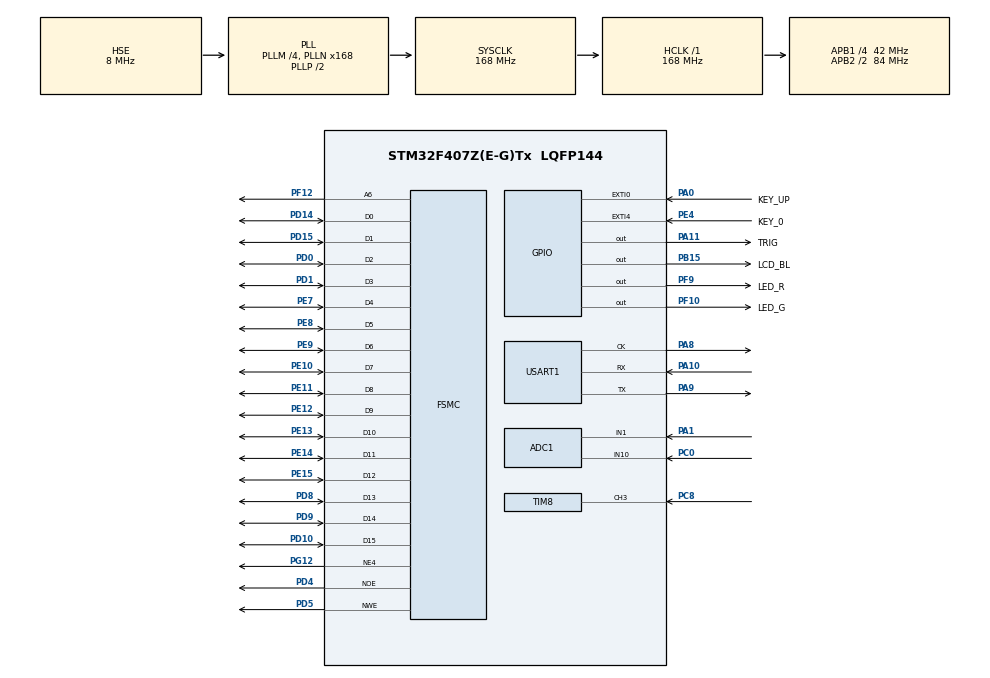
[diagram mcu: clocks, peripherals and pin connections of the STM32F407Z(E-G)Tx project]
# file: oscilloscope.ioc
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ADC1.Channel-4\#ChannelRegularConversion=ADC_CHANNEL_1
ADC1.Channel-5\#ChannelRegularConversion=ADC_CHANNEL_10
ADC1.ClockPrescaler=ADC_CLOCK_SYNC_PCLK_DIV4
ADC1.ContinuousConvMode=DISABLE
ADC1.DMAContinuousRequests=ENABLE
ADC1.DiscontinuousConvMode=DISABLE
ADC1.EOCSelection=ADC_EOC_SINGLE_CONV
ADC1.ExternalTrigConv=ADC_EXTERNALTRIGCONV_T2_TRGO
ADC1.InjNumberOfConversion=0
ADC1.NbrOfConversion=2
ADC1.NbrOfConversionFlag=1
ADC1.Rank-4\#ChannelRegularConversion=1
ADC1.Rank-5\#ChannelRegularConversion=2
ADC1.SamplingTime-4\#ChannelRegularConversion=ADC_SAMPLETIME_3CYCLES
ADC1.SamplingTime-5\#ChannelRegularConversion=ADC_SAMPLETIME_3CYCLES
ADC1.master=1
Dma.ADC1.0.Direction=DMA_PERIPH_TO_MEMORY
Dma.ADC1.0.FIFOMode=DMA_FIFOMODE_DISABLE
Dma.ADC1.0.Instance=DMA2_Stream4
Dma.ADC1.0.MemDataAlignment=DMA_MDATAALIGN_HALFWORD
Dma.ADC1.0.MemInc=DMA_MINC_ENABLE
Dma.ADC1.0.Mode=DMA_CIRCULAR
Dma.ADC1.0.PeriphDataAlignment=DMA_PDATAALIGN_HALFWORD
Dma.ADC1.0.PeriphInc=DMA_PINC_DISABLE
Dma.ADC1.0.Priority=DMA_PRIORITY_HIGH
Dma.Request0=ADC1
FREERTOS.Queues01=Waveform_Feature_Queue,3,22,1,Dynamic,NULL,NULL;ADC_Raw_Data_Queue,5,4,1,Dynamic,NULL,NULL
FREERTOS.Tasks01=LEDTask,24,128,LEDtestTask,Default,NULL,Dynamic,NULL,NULL;LVGL_Task,40,1024,lvgl_task,As weak,NULL,Dynamic,NULL,NULL;ADCTask,48,1024,ADC_acquisition_task,As weak,NULL,Dynamic,NULL,NULL;Waveform_Task,40,1024,waveform_process_task,As weak,NULL,Dynamic,NULL,NULL
FSMC.BusTurnAroundDuration4=0
FSMC.DataSetupTime4=60
FSMC.ExtendedAddressSetupTime4=9
FSMC.ExtendedBusTurnAroundDuration4=0
FSMC.ExtendedDataSetupTime4=9
FSMC.ExtendedMode4=FSMC_EXTENDED_MODE_ENABLE
Mcu.Family=STM32F4
Mcu.Name=STM32F407Z(E-G)Tx
Mcu.Package=LQFP144
NVIC.ADC_IRQn=true\:5\:0\:false\:false\:true\:true\:true\:true\:true
NVIC.DMA2_Stream4_IRQn=true\:5\:0\:false\:false\:true\:false\:false\:true\:true
NVIC.EXTI0_IRQn=true\:5\:0\:false\:false\:true\:true\:true\:true\:true
NVIC.EXTI4_IRQn=true\:5\:0\:false\:false\:true\:true\:true\:true\:true
NVIC.PriorityGroup=NVIC_PRIORITYGROUP_4
NVIC.TIM8_CC_IRQn=true\:5\:0\:false\:false\:true\:true\:true\:true\:true
PA0-WKUP.GPIO_Label=KEY_UP
PA0-WKUP.GPIO_ModeDefaultEXTI=GPIO_MODE_IT_RISING
PA0-WKUP.GPIO_PuPd=GPIO_PULLDOWN
PA0-WKUP.Signal=GPXTI0
PA1.Signal=ADCx_IN1
PA10.Mode=Synchronous
PA10.Signal=USART1_RX
PA11.GPIO_Label=TRIG
PA11.GPIO_PuPd=GPIO_PULLDOWN
PA11.GPIO_Speed=GPIO_SPEED_FREQ_MEDIUM
PA11.PinState=GPIO_PIN_RESET
PA11.Signal=GPIO_Output
PA13.Mode=Serial_Wire
PA13.Signal=SYS_JTMS-SWDIO
PA14.Mode=Serial_Wire
PA14.Signal=SYS_JTCK-SWCLK
PA8.Mode=Synchronous
PA8.Signal=USART1_CK
PA9.Mode=Synchronous
PA9.Signal=USART1_TX
PB15.GPIO_Label=LCD_BL
PB15.GPIO_PuPd=GPIO_PULLDOWN
PB15.Signal=GPIO_Output
PC0.Signal=ADCx_IN10
PC14-OSC32_IN.Mode=LSE-External-Oscillator
PC14-OSC32_IN.Signal=RCC_OSC32_IN
PC15-OSC32_OUT.Mode=LSE-External-Oscillator
PC15-OSC32_OUT.Signal=RCC_OSC32_OUT
PC4.Signal=ADCx_IN14
PC8.Signal=S_TIM8_CH3
PD0.Signal=FSMC_D2_DA2
PD1.Signal=FSMC_D3_DA3
PD10.Signal=FSMC_D15_DA15
PD14.Signal=FSMC_D0_DA0
PD15.Signal=FSMC_D1_DA1
PD4.Signal=FSMC_NOE
PD5.Signal=FSMC_NWE
PD6.Signal=USART2_RX
PD8.Signal=FSMC_D13_DA13
PD9.Signal=FSMC_D14_DA14
PE10.Signal=FSMC_D7_DA7
PE11.Signal=FSMC_D8_DA8
PE12.Signal=FSMC_D9_DA9
PE13.Signal=FSMC_D10_DA10
PE14.Signal=FSMC_D11_DA11
PE15.Signal=FSMC_D12_DA12
PE4.GPIO_Label=KEY_0
PE4.GPIO_ModeDefaultEXTI=GPIO_MODE_IT_RISING
PE4.GPIO_PuPd=GPIO_PULLDOWN
PE4.Signal=GPXTI4
PE7.Signal=FSMC_D4_DA4
PE8.Signal=FSMC_D5_DA5
PE9.Signal=FSMC_D6_DA6
PF10.GPIO_Label=LED_G
PF10.PinState=GPIO_PIN_SET
PF10.Signal=GPIO_Output
PF12.Signal=FSMC_A6
PF9.GPIO_Label=LED_R
PF9.PinState=GPIO_PIN_SET
PF9.Signal=GPIO_Output
PG12.Mode=NorPsramChipSelect4_4
PG12.Signal=FSMC_NE4
PH0-OSC_IN.Mode=HSE-External-Oscillator
PH0-OSC_IN.Signal=RCC_OSC_IN
PH1-OSC_OUT.Mode=HSE-External-Oscillator
PH1-OSC_OUT.Signal=RCC_OSC_OUT
ProjectManager.HeapSize=0x200
ProjectManager.StackSize=0x1000
ProjectManager.TargetToolchain=MDK-ARM V5.32
RCC.48MHZClocksFreq_Value=84000000
RCC.AHBFreq_Value=168000000
RCC.APB1CLKDivider=RCC_HCLK_DIV4
RCC.APB1Freq_Value=42000000
RCC.APB1TimFreq_Value=84000000
RCC.APB2CLKDivider=RCC_HCLK_DIV2
RCC.APB2Freq_Value=84000000
RCC.APB2TimFreq_Value=168000000
RCC.CortexFreq_Value=168000000
RCC.HCLKFreq_Value=168000000
RCC.HSE_VALUE=8000000
RCC.HSI_VALUE=16000000
RCC.PLLM=4
RCC.PLLN=168
RCC.PLLSourceVirtual=RCC_PLLSOURCE_HSE
RCC.SYSCLKFreq_VALUE=168000000
RCC.SYSCLKSource=RCC_SYSCLKSOURCE_PLLCLK
RCC.VCOOutputFreq_Value=336000000
SH.ADCx_IN1.0=ADC1_IN1,IN1
SH.ADCx_IN10.0=ADC1_IN10,IN10
SH.ADCx_IN14.0=ADC1_IN14
SH.FSMC_A6.0=FSMC_A6,A6_4
SH.FSMC_D0_DA0.0=FSMC_D0,16b-d4
SH.FSMC_D10_DA10.0=FSMC_D10,16b-d4
SH.FSMC_D11_DA11.0=FSMC_D11,16b-d4
SH.FSMC_D12_DA12.0=FSMC_D12,16b-d4
SH.FSMC_D13_DA13.0=FSMC_D13,16b-d4
SH.FSMC_D14_DA14.0=FSMC_D14,16b-d4
SH.FSMC_D15_DA15.0=FSMC_D15,16b-d4
SH.FSMC_D1_DA1.0=FSMC_D1,16b-d4
SH.FSMC_D2_DA2.0=FSMC_D2,16b-d4
SH.FSMC_D3_DA3.0=FSMC_D3,16b-d4
SH.FSMC_D4_DA4.0=FSMC_D4,16b-d4
SH.FSMC_D5_DA5.0=FSMC_D5,16b-d4
SH.FSMC_D6_DA6.0=FSMC_D6,16b-d4
SH.FSMC_D7_DA7.0=FSMC_D7,16b-d4
SH.FSMC_D8_DA8.0=FSMC_D8,16b-d4
SH.FSMC_D9_DA9.0=FSMC_D9,16b-d4
SH.FSMC_NOE.0=FSMC_NOE,Lcd4
SH.FSMC_NWE.0=FSMC_NWE,Lcd4
SH.S_TIM8_CH3.0=TIM8_CH3,Input_Capture3_from_TI3
STMicroelectronics.X-CUBE-ALGOBUILD.1.4.0.LibraryCcDSPOoLibraryJjDSPOoLibrary=true
TIM2.AutoReloadPreload=TIM_AUTORELOAD_PRELOAD_ENABLE
TIM2.Period=1
TIM2.Prescaler=84
TIM2.TIM_MasterOutputTrigger=TIM_TRGO_UPDATE
TIM2.TIM_MasterSlaveMode=TIM_MASTERSLAVEMODE_DISABLE
TIM6.Period=1000-1
TIM6.Prescaler=84-1
TIM8.Channel-Input_Capture3_from_TI3=TIM_CHANNEL_3
TIM8.Channel-Input_Capture4_from_TI3_63=TIM_CHANNEL_4
TIM8.ICPolarity_CH4=TIM_INPUTCHANNELPOLARITY_FALLING
TIM8.Prescaler=168-1
USART1.VirtualMode=VM_SYNC
VP_FREERTOS_VS_CMSIS_V2.Mode=CMSIS_V2
VP_STMicroelectronics.X-CUBE-ALGOBUILD_VS_DSPOoLibraryJjLibrary_1.4.0_1.4.0.Mode=DSPOoLibraryJjLibrary
VP_TIM2_VS_ClockSourceINT.Mode=Internal
VP_TIM6_VS_ClockSourceINT.Mode=Enable_Timer
VP_TIM7_VS_ClockSourceINT.Mode=Enable_Timer
VP_TIM8_VS_ClockSourceINT.Mode=Internal
VP_TIM8_VS_indirect_ch3.Mode=Input_Capture4_from_TI3_63
board=custom

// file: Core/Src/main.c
/* USER CODE BEGIN Header */
/**
 ******************************************************************************
 * @file           : main.c
 * @brief          : Main program body
 ******************************************************************************
 * @attention
 *
 * Copyright (c) 2025 STMicroelectronics.
 * All rights reserved.
 *
 * This software is licensed under terms that can be found in the LICENSE file
 * in the root directory of this software component.
 * If no LICENSE file comes with this software, it is provided AS-IS.
 *
 ******************************************************************************
 */
/* USER CODE END Header */
#include "main.h"
#include "cmsis_os.h"
#include "adc.h"
#include "dma.h"
#include "tim.h"
#include "usart.h"
#include "gpio.h"
#include "fsmc.h"

/* USER CODE BEGIN Includes */
#include "./BSP/KEY/key.h"
#include "./BSP/SRAM/sram.h"
#include "./MALLOC/malloc.h"
#include "./SYSTEM/delay/delay.h"
#include "./SYSTEM/sys/sys.h"
#include "oscilloscope.h"
#include "lvgl_task.h"
#include "adc_task.h"
/* USER CODE END Includes */

void SystemClock_Config(void);
void MX_FREERTOS_Init(void);

/* USER CODE BEGIN 0 */
void gobal_init(void)
{
    HAL_TIM_Base_Start_IT(&htim6);
    HAL_TIM_Base_Start_IT(&htim7);
    sram_init();
    HAL_Delay(200);

    // my_mem_init(SRAMIN);
    // my_mem_init(SRAMEX);
}

/* USER CODE END 0 */

int main(void)
{

  /* MCU Configuration--------------------------------------------------------*/

  /* Reset of all peripherals, Initializes the Flash interface and the Systick. */
  HAL_Init();

  /* Configure the system clock */
  SystemClock_Config();

  /* USER CODE BEGIN SysInit */
  /* Enable I-Cache, D-Cache, and Prefetch Buffer */
  FLASH->ACR |= FLASH_ACR_ICEN | FLASH_ACR_DCEN | FLASH_ACR_PRFTEN;
  /* USER CODE END SysInit */

  /* Initialize all configured peripherals */
  MX_GPIO_Init();
  MX_DMA_Init();
  MX_ADC1_Init();
  MX_FSMC_Init();
  MX_TIM8_Init();
  MX_TIM6_Init();
  MX_USART1_Init();
  MX_TIM7_Init();
  MX_TIM2_Init();
  /* USER CODE BEGIN 2 */
  gobal_init();
  /* USER CODE END 2 */

  /* Init scheduler */
  osKernelInitialize();  /* Call init function for freertos objects (in cmsis_os2.c) */
  MX_FREERTOS_Init();

  /* Start scheduler */
  osKernelStart();

  /* We should never get here as control is now taken by the scheduler */

  /* Infinite loop */
    while (1)
    {

    }
}

void SystemClock_Config(void)
{
  RCC_OscInitTypeDef RCC_OscInitStruct = {0};
  RCC_ClkInitTypeDef RCC_ClkInitStruct = {0};

  /** Configure the main internal regulator output voltage
  */
  __HAL_RCC_PWR_CLK_ENABLE();
  __HAL_PWR_VOLTAGESCALING_CONFIG(PWR_REGULATOR_VOLTAGE_SCALE1);

  /** Initializes the RCC Oscillators according to the specified parameters
  * in the RCC_OscInitTypeDef structure.
  */
  RCC_OscInitStruct.OscillatorType = RCC_OSCILLATORTYPE_HSE;
  RCC_OscInitStruct.HSEState = RCC_HSE_ON;
  RCC_OscInitStruct.PLL.PLLState = RCC_PLL_ON;
  RCC_OscInitStruct.PLL.PLLSource = RCC_PLLSOURCE_HSE;
  RCC_OscInitStruct.PLL.PLLM = 4;
  RCC_OscInitStruct.PLL.PLLN = 168;
  RCC_OscInitStruct.PLL.PLLP = RCC_PLLP_DIV2;
  RCC_OscInitStruct.PLL.PLLQ = 4;
  if (HAL_RCC_OscConfig(&RCC_OscInitStruct) != HAL_OK)
  {
    Error_Handler();
  }

  /** Initializes the CPU, AHB and APB buses clocks
  */
  RCC_ClkInitStruct.ClockType = RCC_CLOCKTYPE_HCLK|RCC_CLOCKTYPE_SYSCLK
                              |RCC_CLOCKTYPE_PCLK1|RCC_CLOCKTYPE_PCLK2;
  RCC_ClkInitStruct.SYSCLKSource = RCC_SYSCLKSOURCE_PLLCLK;
  RCC_ClkInitStruct.AHBCLKDivider = RCC_SYSCLK_DIV1;
  RCC_ClkInitStruct.APB1CLKDivider = RCC_HCLK_DIV4;
  RCC_ClkInitStruct.APB2CLKDivider = RCC_HCLK_DIV2;

  if (HAL_RCC_ClockConfig(&RCC_ClkInitStruct, FLASH_LATENCY_5) != HAL_OK)
  {
    Error_Handler();
  }
}

void Error_Handler(void)
{
    __disable_irq();
    while (1)
    {
    }
}

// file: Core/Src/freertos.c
/* USER CODE BEGIN Header */
/**
 ******************************************************************************
 * File Name          : freertos.c
 * Description        : Code for freertos applications
 ******************************************************************************
 * @attention
 *
 * Copyright (c) 2025 STMicroelectronics.
 * All rights reserved.
 *
 * This software is licensed under terms that can be found in the LICENSE file
 * in the root directory of this software component.
 * If no LICENSE file comes with this software, it is provided AS-IS.
 *
 ******************************************************************************
 */
/* USER CODE END Header */

#include "FreeRTOS.h"
#include "task.h"
#include "main.h"
#include "cmsis_os.h"

/* Definitions for LEDTask */
osThreadId_t LEDTaskHandle;
const osThreadAttr_t LEDTask_attributes = {
  .name = "LEDTask",
  .stack_size = 128 * 4,
  .priority = (osPriority_t) osPriorityNormal,
};
/* Definitions for LVGL_Task */
osThreadId_t LVGL_TaskHandle;
const osThreadAttr_t LVGL_Task_attributes = {
  .name = "LVGL_Task",
  .stack_size = 1024 * 4,
  .priority = (osPriority_t) osPriorityHigh,
};
/* Definitions for ADCTask */
osThreadId_t ADCTaskHandle;
const osThreadAttr_t ADCTask_attributes = {
  .name = "ADCTask",
  .stack_size = 1024 * 4,
  .priority = (osPriority_t) osPriorityRealtime,
};
/* Definitions for Waveform_Task */
osThreadId_t Waveform_TaskHandle;
const osThreadAttr_t Waveform_Task_attributes = {
  .name = "Waveform_Task",
  .stack_size = 1024 * 4,
  .priority = (osPriority_t) osPriorityHigh,
};
/* Definitions for Waveform_Feature_Queue */
osMessageQueueId_t Waveform_Feature_QueueHandle;
const osMessageQueueAttr_t Waveform_Feature_Queue_attributes = {
  .name = "Waveform_Feature_Queue"
};
/* Definitions for ADC_Raw_Data_Queue */
osMessageQueueId_t ADC_Raw_Data_QueueHandle;
const osMessageQueueAttr_t ADC_Raw_Data_Queue_attributes = {
  .name = "ADC_Raw_Data_Queue"
};

void LEDtestTask(void *argument);
void lvgl_task(void *argument);
void ADC_acquisition_task(void *argument);
void waveform_process_task(void *argument);

void MX_FREERTOS_Init(void); /* (MISRA C 2004 rule 8.1) */

void MX_FREERTOS_Init(void) {

  /* Create the queue(s) */
  /* creation of Waveform_Feature_Queue */
  Waveform_Feature_QueueHandle = osMessageQueueNew (3, 22, &Waveform_Feature_Queue_attributes);

  /* creation of ADC_Raw_Data_Queue */
  ADC_Raw_Data_QueueHandle = osMessageQueueNew (5, 4, &ADC_Raw_Data_Queue_attributes);

  /* Create the thread(s) */
  /* creation of LEDTask */
  LEDTaskHandle = osThreadNew(LEDtestTask, NULL, &LEDTask_attributes);

  /* creation of LVGL_Task */
  LVGL_TaskHandle = osThreadNew(lvgl_task, NULL, &LVGL_Task_attributes);

  /* creation of ADCTask */
  ADCTaskHandle = osThreadNew(ADC_acquisition_task, NULL, &ADCTask_attributes);

  /* creation of Waveform_Task */
  Waveform_TaskHandle = osThreadNew(waveform_process_task, NULL, &Waveform_Task_attributes);

}

void LEDtestTask(void *argument)
{
  /* USER CODE BEGIN LEDtestTask */
    /* Infinite loop */
    for (;;)
    {
        HAL_GPIO_TogglePin(LED_G_GPIO_Port, LED_G_Pin);
        osDelay(200);
    }
  /* USER CODE END LEDtestTask */
}

__weak void lvgl_task(void *argument)
{
  for(;;)
  {
    osDelay(1);
  }
}

__weak void ADC_acquisition_task(void *argument)
{
  for(;;)
  {
    osDelay(1);
  }
}

__weak void waveform_process_task(void *argument)
{
  for(;;)
  {
    osDelay(1);
  }
}
